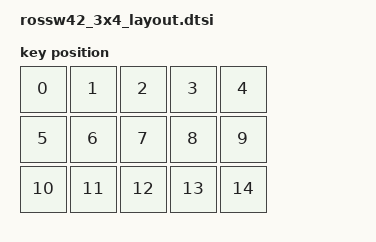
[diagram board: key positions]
/*
 * Copyright (c) 2024 rossw42
 *
 * SPDX-License-Identifier: MIT
 */

#include <physical_layouts.dtsi>

/ {
    rossw42_3x4_layout: rossw42_3x4_layout {
        compatible = "zmk,physical-layout";
        display-name = "3x4 Macropad Layout";
        transform = <&default_transform>;

        keys  //                     w   h    x    y     rot   rx   ry
            = <&key_physical_attrs 100 100    0    0       0    0    0>
            , <&key_physical_attrs 100 100  100    0       0    0    0>
            , <&key_physical_attrs 100 100  200    0       0    0    0>
            , <&key_physical_attrs 100 100  300    0       0    0    0>
            , <&key_physical_attrs 100 100  400    0       0    0    0>
            , <&key_physical_attrs 100 100    0  100       0    0    0>
            , <&key_physical_attrs 100 100  100  100       0    0    0>
            , <&key_physical_attrs 100 100  200  100       0    0    0>
            , <&key_physical_attrs 100 100  300  100       0    0    0>
            , <&key_physical_attrs 100 100  400  100       0    0    0>
            , <&key_physical_attrs 100 100    0  200       0    0    0>
            , <&key_physical_attrs 100 100  100  200       0    0    0>
            , <&key_physical_attrs 100 100  200  200       0    0    0>
            , <&key_physical_attrs 100 100  300  200       0    0    0>
            , <&key_physical_attrs 100 100  400  200       0    0    0>
            ;
    };
};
